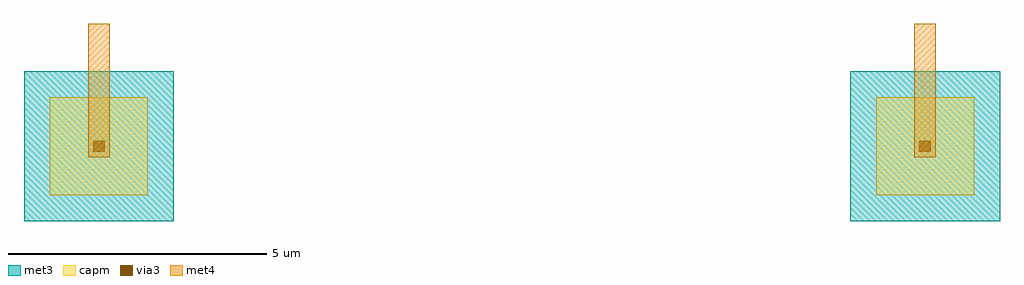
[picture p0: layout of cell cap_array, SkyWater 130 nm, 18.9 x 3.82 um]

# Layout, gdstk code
import gdstk
lib = gdstk.Library(unit=1e-6, precision=1e-09)
def R(c, l, rs):  # rectangles x0, y0, x1, y1
    for r in rs: c.add(gdstk.rectangle(r[:2], r[2:], *l))
met3 = (70, 20)
via3 = (70, 44)
met4 = (71, 20)
capm = (89, 44)

cap_array = lib.new_cell('cap_array')
R(cap_array, met3, [(0,0,2.9,2.9), (16,0,18.9,2.9)])
R(cap_array, via3, [(1.34,1.34,1.56,1.56), (17.34,1.34,17.56,1.56)])
R(cap_array, met4, [(1.24,1.24,1.66,1.66), (17.24,1.24,17.66,1.66), (1.24,1.66,1.66,3.4), (17.24,1.66,17.66,3.4), (1.24,3.4,1.66,3.82), (17.24,3.4,17.66,3.82)])
R(cap_array, capm, [(0.5,0.5,2.4,2.4), (16.5,0.5,18.4,2.4)])

lib.write_gds('cap_array.gds')
